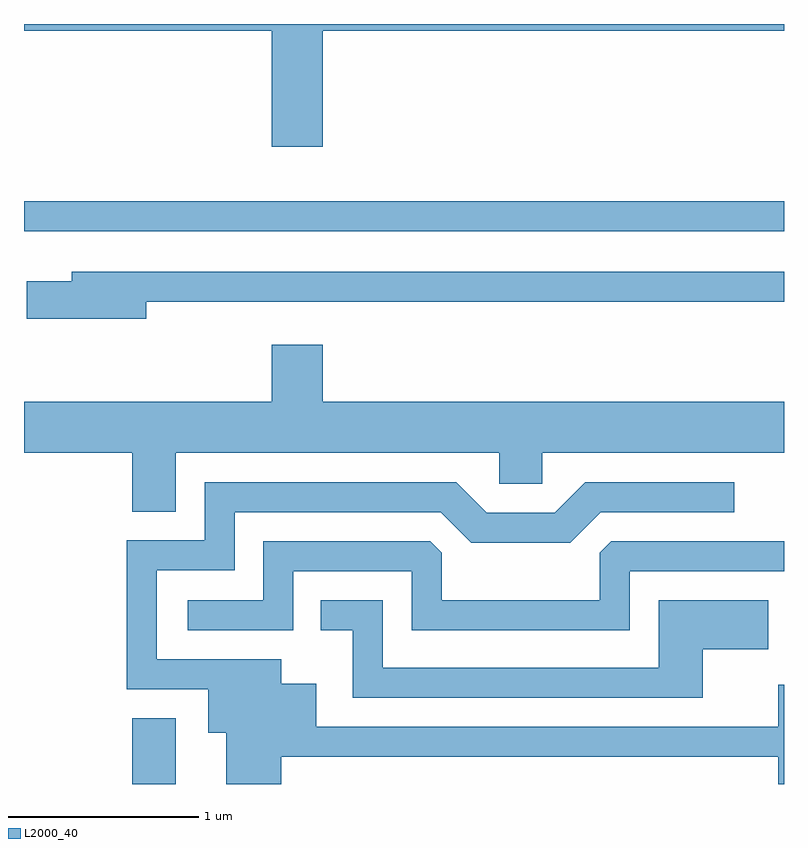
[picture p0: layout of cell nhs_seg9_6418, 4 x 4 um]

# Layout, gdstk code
import gdstk
lib = gdstk.Library(unit=1e-6, precision=1e-09)
def R(c, l, rs):  # rectangles x0, y0, x1, y1
    for r in rs: c.add(gdstk.rectangle(r[:2], r[2:], *l))
def P(c, l, *ps):  # polygons
    for p in ps: c.add(gdstk.Polygon(p, *l))
L2000_40 = (2000, 40)

nhs_seg9_6418 = lib.new_cell('nhs_seg9_6418')
R(nhs_seg9_6418, L2000_40, [(374.181,2074.432,374.409,2074.779), (373.611,2077.341,377.611,2077.499)])
P(nhs_seg9_6418, L2000_40, [(375.184,2078.396),(377.611,2078.396),(377.611,2078.432),(373.611,2078.432),(373.611,2078.396),(374.916,2078.396),(374.916,2077.786),(375.184,2077.786)],
  [(374.254,2076.971),(377.611,2076.971),(377.611,2077.129),(373.861,2077.129),(373.861,2077.079),(373.626,2077.079),(373.626,2076.881),(374.254,2076.881)],
  [(374.409,2076.176),(376.111,2076.176),(376.111,2076.011),(376.339,2076.011),(376.339,2076.176),(377.611,2076.176),(377.611,2076.444),(375.184,2076.444),(375.184,2076.744),(374.916,2076.744),(374.916,2076.444),(373.611,2076.444),(373.611,2076.176),(374.181,2076.176),(374.181,2075.866),(374.409,2075.866)],
  [(374.964,2074.576),(377.581,2074.576),(377.581,2074.432),(377.611,2074.432),(377.611,2074.954),(377.581,2074.954),(377.581,2074.734),(375.149,2074.734),(375.149,2074.959),(374.964,2074.959),(374.964,2075.089),(374.309,2075.089),(374.309,2075.556),(374.719,2075.556),(374.719,2075.861),(375.804,2075.861),(375.964,2075.701),(376.487,2075.701),(376.647,2075.861),(377.348,2075.861),(377.348,2076.019),(376.564,2076.019),(376.404,2075.859),(376.047,2075.859),(375.887,2076.019),(374.561,2076.019),(374.561,2075.714),(374.151,2075.714),(374.151,2074.931),(374.581,2074.931),(374.581,2074.701),(374.676,2074.701),(374.676,2074.432),(374.964,2074.432)],
  [(375.029,2075.551),(375.651,2075.551),(375.651,2075.241),(376.799,2075.241),(376.799,2075.551),(377.611,2075.551),(377.611,2075.709),(376.702,2075.709),(376.641,2075.649),(376.641,2075.399),(375.809,2075.399),(375.809,2075.649),(375.749,2075.709),(374.871,2075.709),(374.871,2075.399),(374.473,2075.399),(374.473,2075.241),(375.029,2075.241)],
  [(377.184,2075.141),(377.529,2075.141),(377.529,2075.399),(376.951,2075.399),(376.951,2075.044),(375.499,2075.044),(375.499,2075.399),(375.173,2075.399),(375.173,2075.241),(375.341,2075.241),(375.341,2074.886),(377.184,2074.886)])

lib.write_gds('nhs_seg9_6418.gds')
